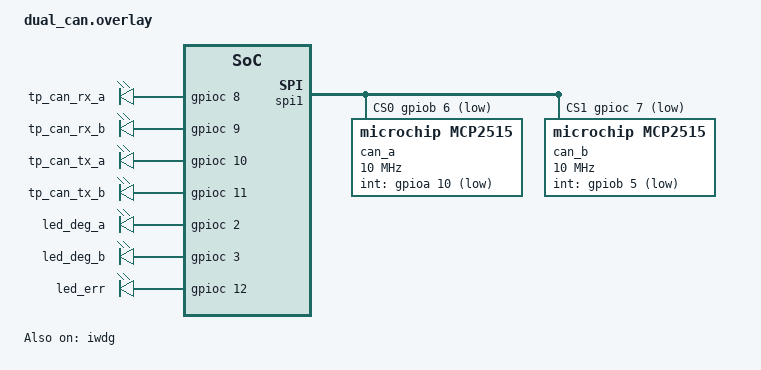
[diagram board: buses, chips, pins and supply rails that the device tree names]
/*
 * Shared by both STM32 zones (N2 steering, N3 drivetrain), pulled in with
 * EXTRA_DTC_OVERLAY_FILE from each zone's CMakeLists.txt. Zone-specific
 * actuators live in the zone's own boards/nucleo_f401re.overlay.
 *
 * Dual MCP2515 (XIAO CAN modules) on SPI1, handout wiring:
 *   SCK PA5 (D13), MISO PA6 (D12), MOSI PA7 (D11)
 *   CAN A: CS PB6 (D10), INT PA10 (D2) -> EXTI10
 *   CAN B: CS PC7 (D9),  INT PB5  (D4) -> EXTI5
 * Module side: D9 = MISO, D10 = MOSI (the handout figure has these swapped).
 * 16 MHz crystal; SPI actually runs at 84/16 = 5.25 MHz.
 *
 * Test points and status LEDs, same pins on both zones (morpho headers):
 *   CAN_RX_A PC8, CAN_RX_B PC9, CAN_TX_A PC10, CAN_TX_B PC11
 *   DEG_A PC2, DEG_B PC3, ERR PC12. TEST_BTN = on-board B1 (PC13, alias sw0)
 */

/ {
	aliases {
		can-a = &can_a;
		can-b = &can_b;
		tp-can-rx-a = &tp_can_rx_a;
		tp-can-rx-b = &tp_can_rx_b;
		tp-can-tx-a = &tp_can_tx_a;
		tp-can-tx-b = &tp_can_tx_b;
		led-deg-a = &led_deg_a;
		led-deg-b = &led_deg_b;
		led-err = &led_err;
		test-btn = &user_button;
		zone-wdt = &iwdg;
	};

	can_test_points {
		compatible = "gpio-leds";

		tp_can_rx_a: tp_can_rx_a {
			gpios = <&gpioc 8 GPIO_ACTIVE_HIGH>;
		};
		tp_can_rx_b: tp_can_rx_b {
			gpios = <&gpioc 9 GPIO_ACTIVE_HIGH>;
		};
		tp_can_tx_a: tp_can_tx_a {
			gpios = <&gpioc 10 GPIO_ACTIVE_HIGH>;
		};
		tp_can_tx_b: tp_can_tx_b {
			gpios = <&gpioc 11 GPIO_ACTIVE_HIGH>;
		};
	};

	zone_status_leds {
		compatible = "gpio-leds";

		led_deg_a: led_deg_a {
			gpios = <&gpioc 2 GPIO_ACTIVE_HIGH>;
		};
		led_deg_b: led_deg_b {
			gpios = <&gpioc 3 GPIO_ACTIVE_HIGH>;
		};
		led_err: led_err {
			gpios = <&gpioc 12 GPIO_ACTIVE_HIGH>;
		};
	};
};

/*
 * Board defaults that claim pins we use. Each zone's own overlay is applied
 * after this file and may re-enable what it needs (e.g. N3's pwm2 on PA0).
 */
&usart1 { status = "disabled"; };   /* PB6 = CAN A CS, PB7 = RELAY_TX */
&i2c1   { status = "disabled"; };   /* PB8/PB9 = blinkers */
&i2c3   { status = "disabled"; };   /* PA8 = encoder, PC9 = CAN_RX_B */
&spi2   { status = "disabled"; };   /* PB13 = N3 motor ENB */
&adc1   { status = "disabled"; };   /* PA0 = N3 motor PWM */
&timers2 { status = "disabled"; };  /* board puts its PWM on PA5 = SPI1 SCK */

/* R4.5: independent watchdog, separate LSI clock from the main oscillator */
&iwdg {
	status = "okay";
};

&spi1 {
	status = "okay";
	cs-gpios = <&gpiob 6 (GPIO_ACTIVE_LOW | GPIO_PULL_UP)>,
		   <&gpioc 7 (GPIO_ACTIVE_LOW | GPIO_PULL_UP)>;

	can_a: can@0 {
		compatible = "microchip,mcp2515";
		reg = <0>;
		spi-max-frequency = <10000000>;
		int-gpios = <&gpioa 10 (GPIO_ACTIVE_LOW | GPIO_PULL_UP)>;
		osc-freq = <16000000>;
		/* Without this the driver falls back to CONFIG_CAN_DEFAULT_BITRATE (125k) */
		bitrate = <500000>;
		sample-point = <875>;
		status = "okay";
	};

	can_b: can@1 {
		compatible = "microchip,mcp2515";
		reg = <1>;
		spi-max-frequency = <10000000>;
		int-gpios = <&gpiob 5 (GPIO_ACTIVE_LOW | GPIO_PULL_UP)>;
		osc-freq = <16000000>;
		bitrate = <500000>;
		sample-point = <875>;
		status = "okay";
	};
};
